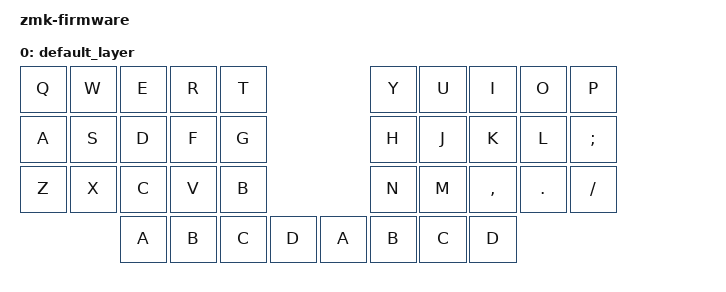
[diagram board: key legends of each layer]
// Copyright (c) 2022 The ZMK Contributors
// SPDX-License-Identifier: MIT

#include <behaviors.dtsi>
#include <dt-bindings/zmk/keys.h>
#include <dt-bindings/zmk/bt.h>

// Home row mods macro
#define HRML(k1,k2,k3,k4) &ht LCTRL k1  &ht LALT k2  &ht LGUI k3  &ht LSHFT k4
#define HRMR(k1,k2,k3,k4) &ht RSHFT k1  &ht RGUI k2  &ht RALT k3  &ht RCTRL k4

#define BASE 0
#define SYMB 1
#define NUM 2
#define FUNC 3
#define EXTR 4


/ {
    compatible = "zmk,firmware";
    model = "zmk-firmware";

    
    keymap {
        compatible = "zmk,keymap";

        default_layer {
            bindings = <
            &kp Q    &kp W    &kp E     &kp R     &kp T                                                 &kp Y     &kp U     &kp I     &kp O     &kp P
            &kp A    &kp S    &kp D     &kp F     &kp G                                                 &kp H     &kp J     &kp K     &kp L     &kp SEMICOLON
            &kp Z    &kp X    &kp C     &kp V     &kp B                                                 &kp N     &kp M     &kp COMMA &kp DOT   &kp FSLH
                              &kp A  &kp B  &kp C  &kp D                                &kp A  &kp B  &kp C  &kp D  
            >;
        };

        extra1 {
            status = "reserved";
        };

        extra2 {
            status = "reserved";
        };
        extra3 {
            status = "reserved";
        };

        extra4 {
            status = "reserved";
        };

    };


};
